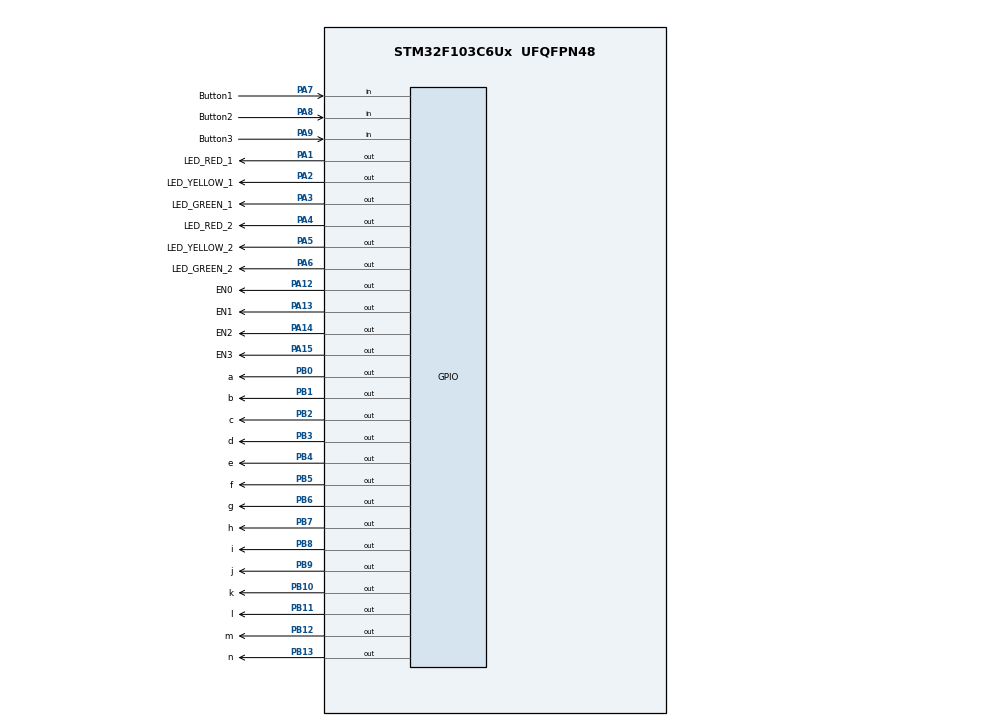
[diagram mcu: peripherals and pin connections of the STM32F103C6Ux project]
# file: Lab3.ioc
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Mcu.Family=STM32F1
Mcu.Name=STM32F103C6Ux
Mcu.Package=UFQFPN48
NVIC.PriorityGroup=NVIC_PRIORITYGROUP_4
NVIC.TIM2_IRQn=true\:0\:0\:false\:false\:true\:true\:true\:true
PA1.GPIO_Label=LED_RED_1
PA1.Signal=GPIO_Output
PA12.GPIO_Label=EN0
PA12.Signal=GPIO_Output
PA13.GPIO_Label=EN1
PA13.Signal=GPIO_Output
PA14.GPIO_Label=EN2
PA14.Signal=GPIO_Output
PA15.GPIO_Label=EN3
PA15.Signal=GPIO_Output
PA2.GPIO_Label=LED_YELLOW_1
PA2.Signal=GPIO_Output
PA3.GPIO_Label=LED_GREEN_1
PA3.Signal=GPIO_Output
PA4.GPIO_Label=LED_RED_2
PA4.Signal=GPIO_Output
PA5.GPIO_Label=LED_YELLOW_2
PA5.Signal=GPIO_Output
PA6.GPIO_Label=LED_GREEN_2
PA6.Signal=GPIO_Output
PA7.GPIO_Label=Button1
PA7.GPIO_PuPd=GPIO_PULLUP
PA7.Signal=GPIO_Input
PA8.GPIO_Label=Button2
PA8.GPIO_PuPd=GPIO_PULLUP
PA8.Signal=GPIO_Input
PA9.GPIO_Label=Button3
PA9.GPIO_PuPd=GPIO_PULLUP
PA9.Signal=GPIO_Input
PB0.GPIO_Label=a
PB0.Signal=GPIO_Output
PB1.GPIO_Label=b
PB1.Signal=GPIO_Output
PB10.GPIO_Label=k
PB10.Signal=GPIO_Output
PB11.GPIO_Label=l
PB11.Signal=GPIO_Output
PB12.GPIO_Label=m
PB12.Signal=GPIO_Output
PB13.GPIO_Label=n
PB13.Signal=GPIO_Output
PB2.GPIO_Label=c
PB2.Signal=GPIO_Output
PB3.GPIO_Label=d
PB3.Signal=GPIO_Output
PB4.GPIO_Label=e
PB4.Signal=GPIO_Output
PB5.GPIO_Label=f
PB5.Signal=GPIO_Output
PB6.GPIO_Label=g
PB6.Signal=GPIO_Output
PB7.GPIO_Label=h
PB7.Signal=GPIO_Output
PB8.GPIO_Label=i
PB8.Signal=GPIO_Output
PB9.GPIO_Label=j
PB9.Signal=GPIO_Output
ProjectManager.HeapSize=0x200
ProjectManager.StackSize=0x400
ProjectManager.TargetToolchain=STM32CubeIDE
RCC.APB1Freq_Value=8000000
RCC.APB2Freq_Value=8000000
TIM2.Period=9
TIM2.Prescaler=7999
VP_SYS_VS_ND.Mode=No_Debug
VP_TIM2_VS_ClockSourceINT.Mode=Internal
board=custom

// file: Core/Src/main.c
/* USER CODE BEGIN Header */
/**
  ******************************************************************************
  * @file           : main.c
  * @brief          : Main program body
  ******************************************************************************
  * @attention
  *
  * <h2><center>&copy; Copyright (c) 2022 STMicroelectronics.
  * All rights reserved.</center></h2>
  *
  * This software component is licensed by ST under BSD 3-Clause license,
  * the "License"; You may not use this file except in compliance with the
  * License. You may obtain a copy of the License at:
  *                        opensource.org/licenses/BSD-3-Clause
  *
  ******************************************************************************
  */
/* USER CODE END Header */
#include "main.h"

/* USER CODE BEGIN Includes */
#include "software_timer.h"
#include "global.h"
#include "button1.h"
#include "button2.h"
#include "button3.h"
#include "fsm_run.h"
/* USER CODE END Includes */

TIM_HandleTypeDef htim2;

void SystemClock_Config(void);
static void MX_GPIO_Init(void);
static void MX_TIM2_Init(void);

int main(void)
{

  /* MCU Configuration--------------------------------------------------------*/

  /* Reset of all peripherals, Initializes the Flash interface and the Systick. */
  HAL_Init();

  /* Configure the system clock */
  SystemClock_Config();

  /* Initialize all configured peripherals */
  MX_GPIO_Init();
  MX_TIM2_Init();
  /* USER CODE BEGIN 2 */
  HAL_TIM_Base_Start_IT(&htim2);
  /* USER CODE END 2 */

  /* Infinite loop */
  /* USER CODE BEGIN WHILE */
  	HAL_GPIO_WritePin(EN0_GPIO_Port, EN0_Pin, SET);
	HAL_GPIO_WritePin(EN1_GPIO_Port, EN1_Pin, SET);
	HAL_GPIO_WritePin(EN2_GPIO_Port, EN2_Pin, SET);
	HAL_GPIO_WritePin(EN3_GPIO_Port, EN3_Pin, SET);
	status3 = AUTOMATIC;
  while (1)
  {
    /* USER CODE END WHILE */

  }
}

void SystemClock_Config(void)
{
  RCC_OscInitTypeDef RCC_OscInitStruct = {0};
  RCC_ClkInitTypeDef RCC_ClkInitStruct = {0};

  /** Initializes the RCC Oscillators according to the specified parameters
  * in the RCC_OscInitTypeDef structure.
  */
  RCC_OscInitStruct.OscillatorType = RCC_OSCILLATORTYPE_HSI;
  RCC_OscInitStruct.HSIState = RCC_HSI_ON;
  RCC_OscInitStruct.HSICalibrationValue = RCC_HSICALIBRATION_DEFAULT;
  RCC_OscInitStruct.PLL.PLLState = RCC_PLL_NONE;
  if (HAL_RCC_OscConfig(&RCC_OscInitStruct) != HAL_OK)
  {
    Error_Handler();
  }

  /** Initializes the CPU, AHB and APB buses clocks
  */
  RCC_ClkInitStruct.ClockType = RCC_CLOCKTYPE_HCLK|RCC_CLOCKTYPE_SYSCLK
                              |RCC_CLOCKTYPE_PCLK1|RCC_CLOCKTYPE_PCLK2;
  RCC_ClkInitStruct.SYSCLKSource = RCC_SYSCLKSOURCE_HSI;
  RCC_ClkInitStruct.AHBCLKDivider = RCC_SYSCLK_DIV1;
  RCC_ClkInitStruct.APB1CLKDivider = RCC_HCLK_DIV1;
  RCC_ClkInitStruct.APB2CLKDivider = RCC_HCLK_DIV1;

  if (HAL_RCC_ClockConfig(&RCC_ClkInitStruct, FLASH_LATENCY_0) != HAL_OK)
  {
    Error_Handler();
  }
}

static void MX_TIM2_Init(void)
{

  TIM_ClockConfigTypeDef sClockSourceConfig = {0};
  TIM_MasterConfigTypeDef sMasterConfig = {0};

  htim2.Instance = TIM2;
  htim2.Init.Prescaler = 7999;
  htim2.Init.CounterMode = TIM_COUNTERMODE_UP;
  htim2.Init.Period = 9;
  htim2.Init.ClockDivision = TIM_CLOCKDIVISION_DIV1;
  htim2.Init.AutoReloadPreload = TIM_AUTORELOAD_PRELOAD_DISABLE;
  if (HAL_TIM_Base_Init(&htim2) != HAL_OK)
  {
    Error_Handler();
  }
  sClockSourceConfig.ClockSource = TIM_CLOCKSOURCE_INTERNAL;
  if (HAL_TIM_ConfigClockSource(&htim2, &sClockSourceConfig) != HAL_OK)
  {
    Error_Handler();
  }
  sMasterConfig.MasterOutputTrigger = TIM_TRGO_RESET;
  sMasterConfig.MasterSlaveMode = TIM_MASTERSLAVEMODE_DISABLE;
  if (HAL_TIMEx_MasterConfigSynchronization(&htim2, &sMasterConfig) != HAL_OK)
  {
    Error_Handler();
  }

}

static void MX_GPIO_Init(void)
{
  GPIO_InitTypeDef GPIO_InitStruct = {0};

  /* GPIO Ports Clock Enable */
  __HAL_RCC_GPIOA_CLK_ENABLE();
  __HAL_RCC_GPIOB_CLK_ENABLE();

  /*Configure GPIO pin Output Level */
  HAL_GPIO_WritePin(GPIOA, LED_RED_1_Pin|LED_YELLOW_1_Pin|LED_GREEN_1_Pin|LED_RED_2_Pin
                          |LED_YELLOW_2_Pin|LED_GREEN_2_Pin|EN0_Pin|EN1_Pin
                          |EN2_Pin|EN3_Pin, GPIO_PIN_RESET);

  /*Configure GPIO pin Output Level */
  HAL_GPIO_WritePin(GPIOB, a_Pin|b_Pin|c_Pin|k_Pin
                          |l_Pin|m_Pin|n_Pin|d_Pin
                          |e_Pin|f_Pin|g_Pin|h_Pin
                          |i_Pin|j_Pin, GPIO_PIN_RESET);

  /*Configure GPIO pins : LED_RED_1_Pin LED_YELLOW_1_Pin LED_GREEN_1_Pin LED_RED_2_Pin
                           LED_YELLOW_2_Pin LED_GREEN_2_Pin EN0_Pin EN1_Pin
                           EN2_Pin EN3_Pin */
  GPIO_InitStruct.Pin = LED_RED_1_Pin|LED_YELLOW_1_Pin|LED_GREEN_1_Pin|LED_RED_2_Pin
                          |LED_YELLOW_2_Pin|LED_GREEN_2_Pin|EN0_Pin|EN1_Pin
                          |EN2_Pin|EN3_Pin;
  GPIO_InitStruct.Mode = GPIO_MODE_OUTPUT_PP;
  GPIO_InitStruct.Pull = GPIO_NOPULL;
  GPIO_InitStruct.Speed = GPIO_SPEED_FREQ_LOW;
  HAL_GPIO_Init(GPIOA, &GPIO_InitStruct);

  /*Configure GPIO pins : Button1_Pin Button2_Pin Button3_Pin */
  GPIO_InitStruct.Pin = Button1_Pin|Button2_Pin|Button3_Pin;
  GPIO_InitStruct.Mode = GPIO_MODE_INPUT;
  GPIO_InitStruct.Pull = GPIO_PULLUP;
  HAL_GPIO_Init(GPIOA, &GPIO_InitStruct);

  /*Configure GPIO pins : a_Pin b_Pin c_Pin k_Pin
                           l_Pin m_Pin n_Pin d_Pin
                           e_Pin f_Pin g_Pin h_Pin
                           i_Pin j_Pin */
  GPIO_InitStruct.Pin = a_Pin|b_Pin|c_Pin|k_Pin
                          |l_Pin|m_Pin|n_Pin|d_Pin
                          |e_Pin|f_Pin|g_Pin|h_Pin
                          |i_Pin|j_Pin;
  GPIO_InitStruct.Mode = GPIO_MODE_OUTPUT_PP;
  GPIO_InitStruct.Pull = GPIO_NOPULL;
  GPIO_InitStruct.Speed = GPIO_SPEED_FREQ_LOW;
  HAL_GPIO_Init(GPIOB, &GPIO_InitStruct);

}

/* USER CODE BEGIN 4 */
void HAL_TIM_PeriodElapsedCallback ( TIM_HandleTypeDef * htim )
{
	fsm_run1();
	fsm_run2();
	timerRun(); //every 10ms
	getKeyInput1();
	getKeyInput2();
	getKeyInput3();
	seg7Blinking();
}
/* USER CODE END 4 */

void Error_Handler(void)
{
  __disable_irq();
  while (1)
  {
  }
}
